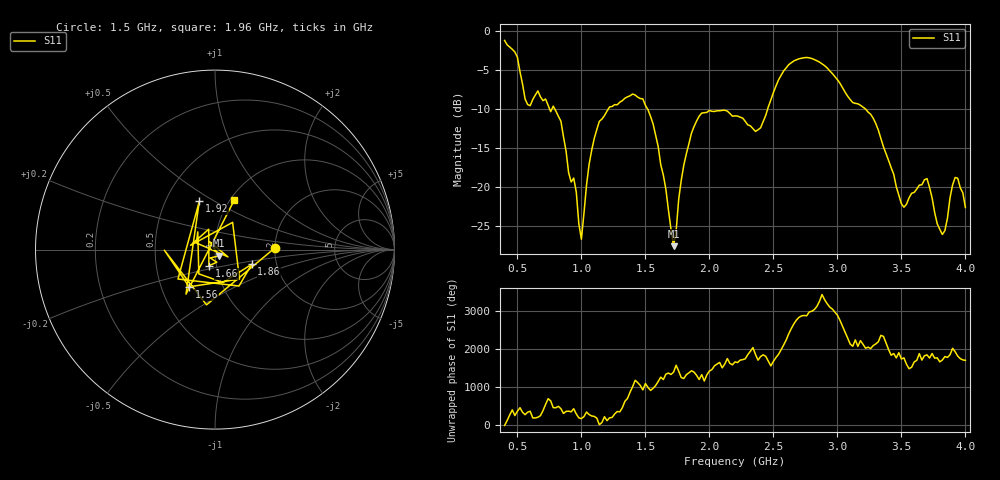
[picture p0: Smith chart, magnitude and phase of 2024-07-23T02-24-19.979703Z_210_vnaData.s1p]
!Created with skrf (http://scikit-rf.org).
# Hz S RI R 50.0
!freq ReS11 ImS11
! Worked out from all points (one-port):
!   181 points, 400 MHz to 4 GHz, reference 50 ohm
!   lowest |S11| = -27.6 dB at 1.72 GHz (marker M1), VSWR 1.09, Z = 52.2 - j3.62 ohm
!   |S11| at or under -10 dB: 790.5 MHz to 1.212 GHz (421.2 MHz wide, 42.1 % of centre); 1.515 GHz to 2.456 GHz (940.7 MHz wide, 47.4 % of centre); 3.216 GHz to end of sweep (the widest 3 of 4)
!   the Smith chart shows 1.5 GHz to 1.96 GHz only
!   S11 on the Smith chart (normalised r, x): 1.5 GHz: 1.99, +0.04; 1.56 GHz: 0.69, -0.31; 1.66 GHz: 0.92, -0.17; 1.86 GHz: 1.49, -0.26; 1.92 GHz: 0.73, +0.43; 1.96 GHz: 1.05, +0.64
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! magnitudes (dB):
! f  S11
! 400 MHz  -1.3
! 500 MHz  -3.4
! 580 MHz  -9.5
! 660 MHz  -7.7
! 860 MHz  -13.6
! 960 MHz  -20.7
! 1 GHz  -26.7
! 1.1 GHz  -13.8
! 1.3 GHz  -9.2
! 1.5 GHz  -9.6
! 1.56 GHz  -11.9
! 1.66 GHz  -20.3
! 1.72 GHz  -27.6
! 1.76 GHz  -21.6
! 1.86 GHz  -13.1
! 1.92 GHz  -11.0
! 1.96 GHz  -10.5
! 2.2 GHz  -10.9
! 2.4 GHz  -12.4
! 2.66 GHz  -3.9
! 3.1 GHz  -8.8
! 3.28 GHz  -11.2
! 3.5 GHz  -22.2
! 3.56 GHz  -21.4
! 3.7 GHz  -19.0
! 3.82 GHz  -26.1
! 3.92 GHz  -18.8
! 4 GHz  -22.6
